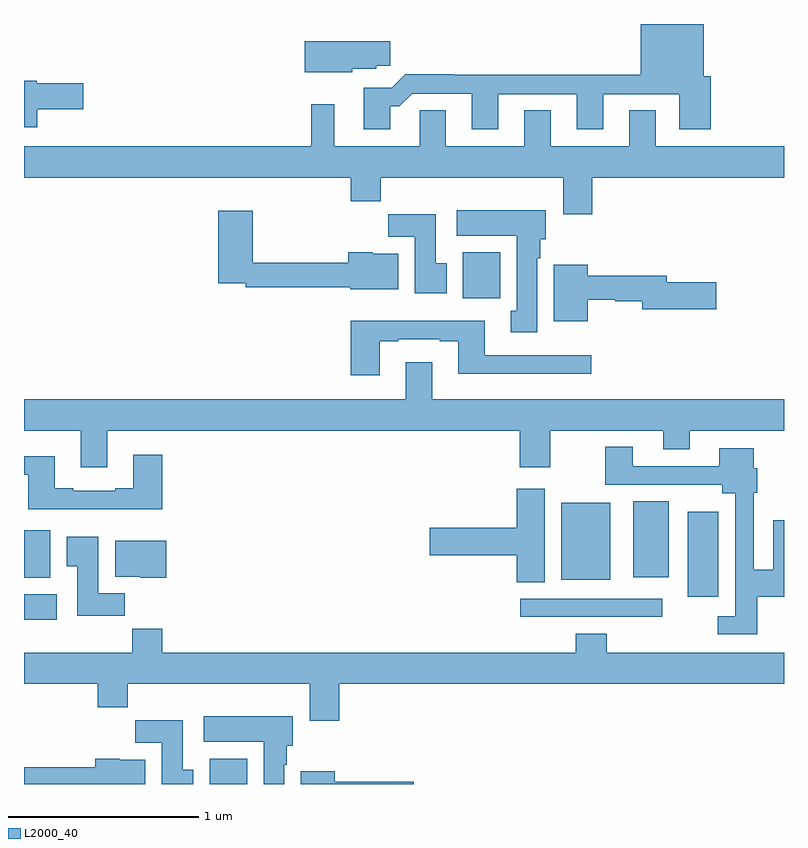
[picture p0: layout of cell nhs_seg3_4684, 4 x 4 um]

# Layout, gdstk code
import gdstk
lib = gdstk.Library(unit=1e-6, precision=1e-09)
def R(c, l, rs):  # rectangles x0, y0, x1, y1
    for r in rs: c.add(gdstk.rectangle(r[:2], r[2:], *l))
def P(c, l, *ps):  # polygons
    for p in ps: c.add(gdstk.Polygon(p, *l))
L2000_40 = (2000, 40)

nhs_seg3_4684 = lib.new_cell('nhs_seg3_4684')
R(nhs_seg3_4684, L2000_40, [(363.977,688.4,364.174,688.534), (363,689.264,363.172,689.398), (365.613,689.28,366.358,689.376), (366.494,689.385,366.655,689.833), (365.828,689.474,366.085,689.881), (363,689.486,363.139,689.736), (366.206,689.489,366.394,689.887), (365.309,690.956,365.506,691.198)])
P(nhs_seg3_4684, L2000_40, [(364.927,691.967),(364.976,691.967),(365.043,692.034),(365.357,692.034),(365.357,691.845),(365.497,691.845),(365.497,692.031),(365.909,692.031),(365.909,691.845),(366.049,691.845),(366.049,692.031),(366.449,692.031),(366.449,691.845),(366.614,691.845),(366.614,692.124),(366.577,692.124),(366.577,692.4),(366.245,692.4),(366.245,692.132),(365.261,692.132),(365.261,692.135),(365.006,692.135),(364.935,692.064),(364.787,692.064),(364.787,691.845),(364.927,691.845)],
  [(364.728,692.165),(364.854,692.165),(364.854,692.179),(364.927,692.179),(364.927,692.308),(364.478,692.308),(364.478,692.147),(364.728,692.147)],
  [(363.07,691.952),(363.313,691.952),(363.313,692.087),(363.066,692.087),(363.066,692.101),(363,692.101),(363,691.856),(363.07,691.856)],
  [(365.99,691.592),(367,691.592),(367,691.756),(366.325,691.756),(366.325,691.946),(366.185,691.946),(366.185,691.756),(365.773,691.756),(365.773,691.946),(365.633,691.946),(365.633,691.756),(365.221,691.756),(365.221,691.946),(365.082,691.946),(365.082,691.756),(364.633,691.756),(364.633,691.978),(364.512,691.978),(364.512,691.756),(363,691.756),(363,691.592),(364.721,691.592),(364.721,691.468),(364.877,691.468),(364.877,691.592),(365.837,691.592),(365.837,691.398),(365.99,691.398)],
  [(365.701,691.166),(365.716,691.166),(365.716,691.266),(365.746,691.266),(365.746,691.42),(365.277,691.42),(365.277,691.286),(365.594,691.286),(365.594,690.89),(365.561,690.89),(365.561,690.777),(365.701,690.777)],
  [(364.969,691.192),(364.836,691.192),(364.836,691.198),(364.706,691.198),(364.706,691.144),(364.205,691.144),(364.205,691.417),(364.022,691.417),(364.022,691.035),(364.168,691.035),(364.168,691.015),(364.718,691.015),(364.718,691.004),(364.969,691.004)],
  [(365.224,691.14),(365.167,691.14),(365.167,691.399),(364.918,691.399),(364.918,691.28),(365.057,691.28),(365.057,690.984),(365.224,690.984)],
  [(365.968,690.948),(366.111,690.948),(366.111,690.94),(366.254,690.94),(366.254,690.898),(366.643,690.898),(366.643,691.04),(366.382,691.04),(366.382,691.076),(365.968,691.076),(365.968,691.132),(365.789,691.132),(365.789,690.836),(365.968,690.836)],
  [(364.873,690.729),(364.969,690.729),(364.969,690.741),(365.189,690.741),(365.189,690.729),(365.285,690.729),(365.285,690.56),(365.986,690.56),(365.986,690.657),(365.425,690.657),(365.425,690.838),(364.721,690.838),(364.721,690.552),(364.873,690.552)],
  [(365.149,690.619),(365.009,690.619),(365.009,690.424),(363,690.424),(363,690.26),(363.299,690.26),(363.299,690.066),(363.439,690.066),(363.439,690.26),(365.609,690.26),(365.609,690.066),(365.769,690.066),(365.769,690.26),(366.365,690.26),(366.365,690.161),(366.505,690.161),(366.505,690.26),(367,690.26),(367,690.424),(365.149,690.424)],
  [(366.86,689.386),(367,689.386),(367,689.788),(366.944,689.788),(366.944,689.528),(366.84,689.528),(366.84,689.934),(366.86,689.934),(366.86,690.062),(366.841,690.062),(366.841,690.166),(366.659,690.166),(366.659,690.072),(366.205,690.072),(366.205,690.175),(366.058,690.175),(366.058,689.976),(366.674,689.976),(366.674,689.93),(366.744,689.93),(366.744,689.283),(366.651,689.283),(366.651,689.187),(366.86,689.187)],
  [(363.728,690.133),(363.575,690.133),(363.575,689.956),(363.479,689.956),(363.479,689.943),(363.259,689.943),(363.259,689.956),(363.163,689.956),(363.163,690.124),(363,690.124),(363,690.027),(363.023,690.027),(363.023,689.846),(363.728,689.846)],
  [(365.74,689.953),(365.594,689.953),(365.594,689.75),(365.136,689.75),(365.136,689.603),(365.594,689.603),(365.594,689.461),(365.74,689.461)],
  [(363.53,689.404),(363.391,689.404),(363.391,689.701),(363.224,689.701),(363.224,689.545),(363.281,689.545),(363.281,689.286),(363.53,689.286)],
  [(363.748,689.68),(363.479,689.68),(363.479,689.492),(363.612,689.492),(363.612,689.486),(363.748,689.486)],
  [(364.658,688.928),(367,688.928),(367,689.092),(366.068,689.092),(366.068,689.191),(365.903,689.191),(365.903,689.092),(363.728,689.092),(363.728,689.216),(363.571,689.216),(363.571,689.092),(363,689.092),(363,688.928),(363.389,688.928),(363.389,688.804),(363.545,688.804),(363.545,688.928),(364.505,688.928),(364.505,688.734),(364.658,688.734)],
  [(364.369,688.502),(364.384,688.502),(364.384,688.602),(364.414,688.602),(364.414,688.756),(363.945,688.756),(363.945,688.622),(364.262,688.622),(364.262,688.4),(364.369,688.4)],
  [(363.892,688.476),(363.835,688.476),(363.835,688.735),(363.586,688.735),(363.586,688.616),(363.725,688.616),(363.725,688.4),(363.892,688.4)],
  [(363.637,688.528),(363.504,688.528),(363.504,688.534),(363.374,688.534),(363.374,688.488),(363,688.488),(363,688.4),(363.637,688.4)],
  [(365.05,688.412),(364.636,688.412),(364.636,688.468),(364.457,688.468),(364.457,688.4),(365.05,688.4)])

lib.write_gds('nhs_seg3_4684.gds')
